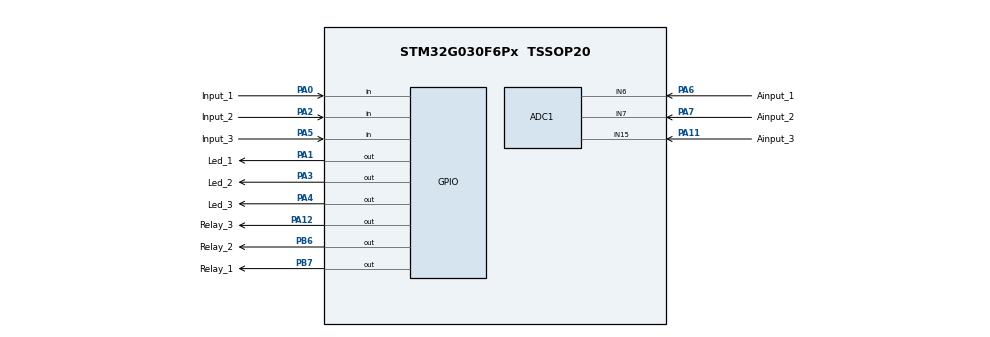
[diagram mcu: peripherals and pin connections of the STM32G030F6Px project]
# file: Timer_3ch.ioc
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ADC1.ClockPrescaler=ADC_CLOCK_SYNC_PCLK_DIV2
ADC1.ContinuousConvMode=ENABLE
ADC1.DMAContinuousRequests=ENABLE
ADC1.NbrOfConversion=1
ADC1.NbrOfConversionFlag=0
ADC1.SamplingTimeCommon1=ADC_SAMPLETIME_160CYCLES_5
ADC1.SelectedChannel=ADC_CHANNEL_6|ADC_CHANNEL_7|ADC_CHANNEL_VREFINT|ADC_CHANNEL_15
ADC1.Sequencer=NOT_FULLY_CONFIGURABLE
ADC1.master=1
Dma.ADC1.0.Direction=DMA_PERIPH_TO_MEMORY
Dma.ADC1.0.EventEnable=DISABLE
Dma.ADC1.0.Instance=DMA1_Channel1
Dma.ADC1.0.MemDataAlignment=DMA_MDATAALIGN_HALFWORD
Dma.ADC1.0.MemInc=DMA_MINC_ENABLE
Dma.ADC1.0.Mode=DMA_CIRCULAR
Dma.ADC1.0.PeriphDataAlignment=DMA_PDATAALIGN_HALFWORD
Dma.ADC1.0.PeriphInc=DMA_PINC_DISABLE
Dma.ADC1.0.Polarity=HAL_DMAMUX_REQ_GEN_RISING
Dma.ADC1.0.Priority=DMA_PRIORITY_LOW
Dma.ADC1.0.RequestNumber=1
Dma.ADC1.0.SignalID=NONE
Dma.ADC1.0.SyncEnable=DISABLE
Dma.ADC1.0.SyncPolarity=HAL_DMAMUX_SYNC_NO_EVENT
Dma.ADC1.0.SyncRequestNumber=1
Dma.ADC1.0.SyncSignalID=NONE
Dma.Request0=ADC1
FREERTOS.HEAP_NUMBER=4
FREERTOS.Tasks01=Polling_main,24,128,StartTaskPolling_main,Default,NULL,Dynamic,NULL,NULL;Polling_DI,8,128,StartTaskPolling_DI,Default,NULL,Dynamic,NULL,NULL
FREERTOS.Timers01=myTimer_OFF,Callback01_OFF,osTimerOnce,Default,NULL,Dynamic,NULL;myTimer_ON,Callback_ON,osTimerOnce,Default,NULL,Dynamic,NULL
FREERTOS.configMINIMAL_STACK_SIZE=64
FREERTOS.configTOTAL_HEAP_SIZE=3500
Mcu.Family=STM32G0
Mcu.Name=STM32G030F6Px
Mcu.Package=TSSOP20
NVIC.DMA1_Channel1_IRQn=true\:3\:0\:false\:false\:true\:true\:false\:true\:true
PA0.GPIO_Label=Input_1
PA0.GPIO_PuPd=GPIO_PULLDOWN
PA0.Signal=GPIO_Input
PA1.GPIO_Label=Led_1
PA1.GPIO_ModeDefaultOutputPP=GPIO_MODE_OUTPUT_OD
PA1.GPIO_PuPd=GPIO_NOPULL
PA1.Signal=GPIO_Output
PA11\ [PA9].GPIO_Label=Ainput_3
PA11\ [PA9].Signal=SharedAnalog_PA11
PA12\ [PA10].GPIO_Label=Relay_3
PA12\ [PA10].GPIO_ModeDefaultOutputPP=GPIO_MODE_OUTPUT_OD
PA12\ [PA10].GPIO_PuPd=GPIO_NOPULL
PA12\ [PA10].Signal=GPIO_Output
PA14-BOOT0__PA15.StandardMode=true
PA2.GPIO_Label=Input_2
PA2.GPIO_PuPd=GPIO_PULLDOWN
PA2.Signal=GPIO_Input
PA3.GPIO_Label=Led_2
PA3.GPIO_ModeDefaultOutputPP=GPIO_MODE_OUTPUT_OD
PA3.GPIO_PuPd=GPIO_NOPULL
PA3.Signal=GPIO_Output
PA4.GPIO_Label=Led_3
PA4.GPIO_ModeDefaultOutputPP=GPIO_MODE_OUTPUT_OD
PA4.GPIO_PuPd=GPIO_NOPULL
PA4.Signal=GPIO_Output
PA5.GPIO_Label=Input_3
PA5.GPIO_PuPd=GPIO_PULLDOWN
PA5.Signal=GPIO_Input
PA6.GPIO_Label=Ainput_1
PA6.Signal=SharedAnalog_PA6
PA7.GPIO_Label=Ainput_2
PA7.Signal=SharedAnalog_PA7
PB0__PB1__PB2__PA8.StandardMode=true
PB3__PB4__PB5__PB6.StandardMode=true
PB6.GPIO_Label=Relay_2
PB6.GPIO_ModeDefaultOutputPP=GPIO_MODE_OUTPUT_OD
PB6.GPIO_PuPd=GPIO_NOPULL
PB6.Signal=GPIO_Output
PB7.GPIO_Label=Relay_1
PB7.GPIO_ModeDefaultOutputPP=GPIO_MODE_OUTPUT_OD
PB7.GPIO_PuPd=GPIO_NOPULL
PB7.Signal=GPIO_Output
PB7__PB8.StandardMode=true
PC14-OSC32_IN\ (PC14)__PB9.StandardMode=true
ProjectManager.HeapSize=0x200
ProjectManager.StackSize=0x400
ProjectManager.TargetToolchain=STM32CubeIDE
RCC.ADCFreq_Value=64000000
RCC.AHBFreq_Value=64000000
RCC.CortexFreq_Value=64000000
RCC.EXTERNAL_CLOCK_VALUE=12288000
RCC.HCLKFreq_Value=64000000
RCC.HSE_VALUE=8000000
RCC.HSI_VALUE=16000000
RCC.LSE_VALUE=32768
RCC.SYSCLKFreq_VALUE=64000000
RCC.SYSCLKSource=RCC_SYSCLKSOURCE_PLLCLK
RCC.VCOOutputFreq_Value=128000000
SH.SharedAnalog_PA11.0=GPIO_Analog
SH.SharedAnalog_PA11.1=ADC1_IN15,IN15
SH.SharedAnalog_PA6.0=GPIO_Analog
SH.SharedAnalog_PA6.1=ADC1_IN6,IN6
SH.SharedAnalog_PA7.0=GPIO_Analog
SH.SharedAnalog_PA7.1=ADC1_IN7,IN7
VP_ADC1_Vref_Input.Mode=IN-Vrefint
VP_FREERTOS_VS_CMSIS_V2.Mode=CMSIS_V2
board=custom

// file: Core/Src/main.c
/* USER CODE BEGIN Header */
/**
  ******************************************************************************
  * @file           : main.c
  * @brief          : Main program body
  ******************************************************************************
  * @attention
  *
  * Copyright (c) 2023 STMicroelectronics.
  * All rights reserved.
  *
  * This software is licensed under terms that can be found in the LICENSE file
  * in the root directory of this software component.
  * If no LICENSE file comes with this software, it is provided AS-IS.
  *
  ******************************************************************************
  */
/* USER CODE END Header */
#include "main.h"
#include "cmsis_os.h"

ADC_HandleTypeDef hadc1;
DMA_HandleTypeDef hdma_adc1;

/* Definitions for Polling_main */
osThreadId_t Polling_mainHandle;
const osThreadAttr_t Polling_main_attributes = {
  .name = "Polling_main",
  .priority = (osPriority_t) osPriorityNormal,
  .stack_size = 128 * 4
};
/* Definitions for Polling_DI */
osThreadId_t Polling_DIHandle;
const osThreadAttr_t Polling_DI_attributes = {
  .name = "Polling_DI",
  .priority = (osPriority_t) osPriorityLow,
  .stack_size = 128 * 4
};
/* Definitions for myTimer_OFF */
osTimerId_t myTimer_OFFHandle;
const osTimerAttr_t myTimer_OFF_attributes = {
  .name = "myTimer_OFF"
};
/* Definitions for myTimer_ON */
osTimerId_t myTimer_ONHandle;
const osTimerAttr_t myTimer_ON_attributes = {
  .name = "myTimer_ON"
};
/* USER CODE BEGIN PV */
input_DataType DI_str; // структура для обработчика кнопок
uint16_t adc[40]; //массив для хранения опросов АЦП
uint8_t Time_on_relay; //время включения реле в сек
uint8_t Time_off_relay; //время включения реле в сек
uint16_t* VREFINT_CAL = (uint16_t*)(0x1FFF75AA);
uint8_t relays_sequence = 1; // очередь включения реле
uint8_t once = 1;
/* USER CODE END PV */

void SystemClock_Config(void);
static void MX_GPIO_Init(void);
static void MX_DMA_Init(void);
static void MX_ADC1_Init(void);
void StartTaskPolling_main(void *argument);
void StartTaskPolling_DI(void *argument);
void Callback01_OFF(void *argument);
void Callback_ON(void *argument);

/* USER CODE BEGIN 0 */
// медиана на 3 значения со своим буфером
uint32_t median(uint32_t newVal) {
  static int buf[3];
  static uint8_t count = 0;
  buf[count] = newVal;
  if (++count >= 3) count = 0;
  return (max(buf[0], buf[1]) == max(buf[1], buf[2])) ? max(buf[0], buf[2]) : max(buf[1], min(buf[0], buf[2]));
}

int32_t filter(int32_t in, uint32_t coeff_A, uint32_t coeff_k ) {
	static uint32_t filt;

filt = (coeff_A * filt + in) >> coeff_k;
return filt;
}
/* USER CODE END 0 */

int main(void)
{

  /* MCU Configuration--------------------------------------------------------*/

  /* Reset of all peripherals, Initializes the Flash interface and the Systick. */
  HAL_Init();

  /* Configure the system clock */
  SystemClock_Config();

  /* Initialize all configured peripherals */
  MX_GPIO_Init();
  MX_DMA_Init();
  MX_ADC1_Init();
  /* USER CODE BEGIN 2 */
  HAL_ADCEx_Calibration_Start(&hadc1);
  /* USER CODE END 2 */

  /* Init scheduler */
  osKernelInitialize();

  /* Create the timer(s) */
  /* creation of myTimer_OFF */
  myTimer_OFFHandle = osTimerNew(Callback01_OFF, osTimerOnce, NULL, &myTimer_OFF_attributes);

  /* creation of myTimer_ON */
  myTimer_ONHandle = osTimerNew(Callback_ON, osTimerOnce, NULL, &myTimer_ON_attributes);

  /* Create the thread(s) */
  /* creation of Polling_main */
  Polling_mainHandle = osThreadNew(StartTaskPolling_main, NULL, &Polling_main_attributes);

  /* creation of Polling_DI */
  Polling_DIHandle = osThreadNew(StartTaskPolling_DI, NULL, &Polling_DI_attributes);

  /* USER CODE BEGIN RTOS_EVENTS */
  /* add events, ... */
	HAL_ADC_Start_DMA(&hadc1, (uint32_t*)adc, 40);
	HAL_GPIO_WritePin(Led_1_GPIO_Port, Led_1_Pin, 1);
	HAL_GPIO_WritePin(Led_2_GPIO_Port, Led_2_Pin, 1);
	HAL_GPIO_WritePin(Led_3_GPIO_Port, Led_3_Pin, 1);
	HAL_GPIO_WritePin(Relay_1_GPIO_Port, Relay_1_Pin, 1);
	HAL_GPIO_WritePin(Relay_2_GPIO_Port, Relay_2_Pin, 1);
	HAL_GPIO_WritePin(Relay_3_GPIO_Port, Relay_3_Pin, 1);
  /* USER CODE END RTOS_EVENTS */

  /* Start scheduler */
  osKernelStart();

  /* We should never get here as control is now taken by the scheduler */
  /* Infinite loop */
  while (1)
  {

  }
}

void SystemClock_Config(void)
{
  LL_FLASH_SetLatency(LL_FLASH_LATENCY_2);
  while(LL_FLASH_GetLatency() != LL_FLASH_LATENCY_2)
  {
  }

  /* HSI configuration and activation */
  LL_RCC_HSI_Enable();
  while(LL_RCC_HSI_IsReady() != 1)
  {
  }

  /* Main PLL configuration and activation */
  LL_RCC_PLL_ConfigDomain_SYS(LL_RCC_PLLSOURCE_HSI, LL_RCC_PLLM_DIV_1, 8, LL_RCC_PLLR_DIV_2);
  LL_RCC_PLL_Enable();
  LL_RCC_PLL_EnableDomain_SYS();
  while(LL_RCC_PLL_IsReady() != 1)
  {
  }

  /* Set AHB prescaler*/
  LL_RCC_SetAHBPrescaler(LL_RCC_SYSCLK_DIV_1);

  /* Sysclk activation on the main PLL */
  LL_RCC_SetSysClkSource(LL_RCC_SYS_CLKSOURCE_PLL);
  while(LL_RCC_GetSysClkSource() != LL_RCC_SYS_CLKSOURCE_STATUS_PLL)
  {
  }

  /* Set APB1 prescaler*/
  LL_RCC_SetAPB1Prescaler(LL_RCC_APB1_DIV_1);
  /* Update CMSIS variable (which can be updated also through SystemCoreClockUpdate function) */
  LL_SetSystemCoreClock(64000000);

   /* Update the time base */
  if (HAL_InitTick (TICK_INT_PRIORITY) != HAL_OK)
  {
    Error_Handler();
  }
}

static void MX_ADC1_Init(void)
{

  ADC_ChannelConfTypeDef sConfig = {0};

  /** Configure the global features of the ADC (Clock, Resolution, Data Alignment and number of conversion)
  */
  hadc1.Instance = ADC1;
  hadc1.Init.ClockPrescaler = ADC_CLOCK_SYNC_PCLK_DIV2;
  hadc1.Init.Resolution = ADC_RESOLUTION_12B;
  hadc1.Init.DataAlign = ADC_DATAALIGN_RIGHT;
  hadc1.Init.ScanConvMode = ADC_SCAN_SEQ_FIXED;
  hadc1.Init.EOCSelection = ADC_EOC_SINGLE_CONV;
  hadc1.Init.LowPowerAutoWait = DISABLE;
  hadc1.Init.LowPowerAutoPowerOff = DISABLE;
  hadc1.Init.ContinuousConvMode = ENABLE;
  hadc1.Init.NbrOfConversion = 1;
  hadc1.Init.ExternalTrigConv = ADC_SOFTWARE_START;
  hadc1.Init.ExternalTrigConvEdge = ADC_EXTERNALTRIGCONVEDGE_NONE;
  hadc1.Init.DMAContinuousRequests = ENABLE;
  hadc1.Init.Overrun = ADC_OVR_DATA_PRESERVED;
  hadc1.Init.SamplingTimeCommon1 = ADC_SAMPLETIME_160CYCLES_5;
  hadc1.Init.OversamplingMode = DISABLE;
  hadc1.Init.TriggerFrequencyMode = ADC_TRIGGER_FREQ_HIGH;
  if (HAL_ADC_Init(&hadc1) != HAL_OK)
  {
    Error_Handler();
  }

  /** Configure Regular Channel
  */
  sConfig.Channel = ADC_CHANNEL_6;
  sConfig.Rank = ADC_RANK_CHANNEL_NUMBER;
  if (HAL_ADC_ConfigChannel(&hadc1, &sConfig) != HAL_OK)
  {
    Error_Handler();
  }

  /** Configure Regular Channel
  */
  sConfig.Channel = ADC_CHANNEL_7;
  if (HAL_ADC_ConfigChannel(&hadc1, &sConfig) != HAL_OK)
  {
    Error_Handler();
  }

  /** Configure Regular Channel
  */
  sConfig.Channel = ADC_CHANNEL_VREFINT;
  if (HAL_ADC_ConfigChannel(&hadc1, &sConfig) != HAL_OK)
  {
    Error_Handler();
  }

  /** Configure Regular Channel
  */
  sConfig.Channel = ADC_CHANNEL_15;
  if (HAL_ADC_ConfigChannel(&hadc1, &sConfig) != HAL_OK)
  {
    Error_Handler();
  }

}

static void MX_DMA_Init(void)
{

  /* DMA controller clock enable */
  __HAL_RCC_DMA1_CLK_ENABLE();

  /* DMA interrupt init */
  /* DMA1_Channel1_IRQn interrupt configuration */
  HAL_NVIC_SetPriority(DMA1_Channel1_IRQn, 3, 0);
  HAL_NVIC_EnableIRQ(DMA1_Channel1_IRQn);

}

static void MX_GPIO_Init(void)
{
  GPIO_InitTypeDef GPIO_InitStruct = {0};

  /* GPIO Ports Clock Enable */
  __HAL_RCC_GPIOB_CLK_ENABLE();
  __HAL_RCC_GPIOA_CLK_ENABLE();

  /*Configure GPIO pin Output Level */
  HAL_GPIO_WritePin(GPIOB, Relay_1_Pin|Relay_2_Pin, GPIO_PIN_RESET);

  /*Configure GPIO pin Output Level */
  HAL_GPIO_WritePin(GPIOA, Led_1_Pin|Led_2_Pin|Led_3_Pin|Relay_3_Pin, GPIO_PIN_RESET);

  /*Configure GPIO pins : Relay_1_Pin Relay_2_Pin */
  GPIO_InitStruct.Pin = Relay_1_Pin|Relay_2_Pin;
  GPIO_InitStruct.Mode = GPIO_MODE_OUTPUT_OD;
  GPIO_InitStruct.Pull = GPIO_NOPULL;
  GPIO_InitStruct.Speed = GPIO_SPEED_FREQ_LOW;
  HAL_GPIO_Init(GPIOB, &GPIO_InitStruct);

  /*Configure GPIO pins : Input_1_Pin Input_2_Pin Input_3_Pin */
  GPIO_InitStruct.Pin = Input_1_Pin|Input_2_Pin|Input_3_Pin;
  GPIO_InitStruct.Mode = GPIO_MODE_INPUT;
  GPIO_InitStruct.Pull = GPIO_PULLDOWN;
  HAL_GPIO_Init(GPIOA, &GPIO_InitStruct);

  /*Configure GPIO pins : Led_1_Pin Led_2_Pin Led_3_Pin Relay_3_Pin */
  GPIO_InitStruct.Pin = Led_1_Pin|Led_2_Pin|Led_3_Pin|Relay_3_Pin;
  GPIO_InitStruct.Mode = GPIO_MODE_OUTPUT_OD;
  GPIO_InitStruct.Pull = GPIO_NOPULL;
  GPIO_InitStruct.Speed = GPIO_SPEED_FREQ_LOW;
  HAL_GPIO_Init(GPIOA, &GPIO_InitStruct);

}

void StartTaskPolling_main(void *argument)
{
  /* USER CODE BEGIN 5 */
  /* Infinite loop */
  for(;;)
  {

	  	uint16_t Uvdda; //  измерение напряжения питания АЦП
		for (uint8_t i = 3; i<40; i+=4) // берем сумму каждых четных адресов
		  	{
				Uvdda = Uvdda + adc[i];
		  	}
		Uvdda = (uint16_t)(30000*(uint32_t)(*VREFINT_CAL)/(uint32_t)Uvdda); //напряжение в мВ на пине VDDA
		Uvdda = median(Uvdda);

		int32_t Input_AI1=0;
		for (uint8_t i = 0; i<40; i+=4) // берем сумму каждых первых адресов
			{
				Input_AI1 = Input_AI1 + adc[i];
			}

		int32_t Input_AI2=0;
		for (uint8_t i = 1; i<40; i+=4) // берем сумму каждых первых адресов
			{
				Input_AI2 = Input_AI2 + adc[i];
			}

		int32_t Input_AI3=0;
		for (uint8_t i = 2; i<40; i+=4) // берем сумму каждых первых адресов
			{
				Input_AI3 = Input_AI3 + adc[i];
			}

		Time_on_relay = (uint8_t)(Input_AI1*9/40950) + 1 ; // задание от 1 до 10 сек
		Time_off_relay = (uint8_t)(Input_AI2*99/40950) + 1; // задание от 1 до 100 сек

		if (once)
		{
			once=0;
			osTimerStart(myTimer_OFFHandle, (uint32_t)(Time_off_relay)*1000);
		}
		// выключение выходов, если нет сигнала
		if ((GPIO_PinState)!DI_str.input_1)
		{
			HAL_GPIO_WritePin(Led_1_GPIO_Port, Led_1_Pin, 1);
			HAL_GPIO_WritePin(Relay_1_GPIO_Port, Relay_1_Pin, 1);
		}

		if ((GPIO_PinState)!DI_str.input_2)
		{
			HAL_GPIO_WritePin(Led_2_GPIO_Port, Led_2_Pin, 1);
			HAL_GPIO_WritePin(Relay_2_GPIO_Port, Relay_2_Pin, 1);
		}

		if ((GPIO_PinState)!DI_str.input_3)
		{
			HAL_GPIO_WritePin(Led_3_GPIO_Port, Led_3_Pin, 1);
			HAL_GPIO_WritePin(Relay_3_GPIO_Port, Relay_3_Pin, 1);
		}

	  osDelay(100);
  }
  /* USER CODE END 5 */
}

void StartTaskPolling_DI(void *argument)
{
  /* USER CODE BEGIN StartTaskPolling_DI */
  /* Infinite loop */
  for(;;)
  {

	  	DI_str.input_1=(uint32_t)HAL_GPIO_ReadPin(Input_1_GPIO_Port, Input_1_Pin);
	    DI_str.input_2=(uint32_t)HAL_GPIO_ReadPin(Input_2_GPIO_Port, Input_2_Pin);
	    DI_str.input_3=(uint32_t)HAL_GPIO_ReadPin(Input_3_GPIO_Port, Input_3_Pin);

	  	          if (DI_str.input_2_rise == 1)
	  	              DI_str.input_2_rise = 0; // сброс статуса фронта нажатия
	  	          if (DI_str.input_2_fall == 1)
	  	              DI_str.input_2_fall = 0; // сброс статуса спада нажатия
	  	          // начало события, отсчет от первого фронта
	  	          if (DI_str.input_2 && DI_str.input_2_time == 0)
	  	          {
	  	              DI_str.input_2_time = xTaskGetTickCount();
	  	              //DI_str.input_2 = DI_str.input_2;
	  	          }
	  	          // проверка состояния контакта через время дребезга контактов 50мс
	  	          else if (DI_str.input_2 && xTaskGetTickCount() > DI_str.input_2_time + 50)
	  	          {
	  	              DI_str.input_2 = xTaskGetTickCount() - DI_str.input_2_time; // сохраняем время нажатой кнопки в мс*10
	  	              DI_str.input_2_rise = 1;                                             // формирование статуса фронт сигнала
	  	          }
	  	          else if (DI_str.input_2 == 0 && DI_str.input_2 != 0)
	  	          {
	  	              DI_str.input_2_time = 0;
	  	              DI_str.input_2 = 0;
	  	              DI_str.input_2_fall = 1;
	  	          }

	  	          if (DI_str.input_1_rise == 1)
	  	              DI_str.input_1_rise = 0; // сброс статуса фронта нажатия
	  	          if (DI_str.input_1_fall == 1)
	  	              DI_str.input_1_fall = 0; // сброс статуса спада нажатия
	  	          // начало события, отсчет от первого фронта
	  	          if (DI_str.input_1 && DI_str.input_1_time == 0)
	  	          {
	  	              DI_str.input_1_time = xTaskGetTickCount();
	  	             // DI_str.input_1 = DI_str.input_1;
	  	          }
	  	          // проверка состояния контакта через время дребезга контактов 50мс
	  	          else if (DI_str.input_1 && xTaskGetTickCount() > DI_str.input_1_time + 50)
	  	          {
	  	              DI_str.input_1 = xTaskGetTickCount() - DI_str.input_1_time; // сохраняем время нажатой кнопки в мс*10
	  	              DI_str.input_1_rise = 1;                                           // формирование статуса фронт сигнала
	  	          }
	  	          else if (DI_str.input_1 == 0 && DI_str.input_1 != 0)
	  	          {
	  	              DI_str.input_1_time = 0;
	  	              DI_str.input_1 = 0;
	  	              DI_str.input_1_fall = 1;
	  	          }

	  	          if (DI_str.input_3_rise == 1)
	  	              DI_str.input_3_rise = 0; // сброс статуса фронта нажатия
	  	          if (DI_str.input_3_fall == 1)
	  	              DI_str.input_3_fall = 0; // сброс статуса спада нажатия
	  	          // начало события, отсчет от первого фронта
	  	          if (DI_str.input_3 && DI_str.input_3_time == 0)
	  	          {
	  	              DI_str.input_3_time = xTaskGetTickCount();
	  	              //DI_str.input_3 = DI_str.input_3;
	  	          }
	  	          // проверка состояния контакта через время дребезга контактов 50мс
	  	          else if (DI_str.input_3 && xTaskGetTickCount() > DI_str.input_3_time + 50)
	  	          {
	  	              DI_str.input_3 = xTaskGetTickCount() - DI_str.input_3_time; // сохраняем время нажатой кнопки в мс*10
	  	              DI_str.input_3_rise = 1;                                             // формирование статуса фронт сигнала
	  	          }
	  	          else if (DI_str.input_3 == 0 && DI_str.input_3 != 0)
	  	          {
	  	              DI_str.input_3_time = 0;
	  	              DI_str.input_3 = 0;
	  	              DI_str.input_3_fall = 1;
	  	          }

	  	          DI_str.any_input = DI_str.input_1 | DI_str.input_2 | DI_str.input_3 ;

	      osDelay(100);

  }
  /* USER CODE END StartTaskPolling_DI */
}

/* Callback01_OFF function */
void Callback01_OFF(void *argument)
{
  /* USER CODE BEGIN Callback01_OFF */
	  if (relays_sequence==1 && (GPIO_PinState)DI_str.input_1)
	  {
		  HAL_GPIO_WritePin(Led_1_GPIO_Port, Led_1_Pin, 0);
		  HAL_GPIO_WritePin(Relay_1_GPIO_Port, Relay_1_Pin, 0);
	  }

	  else if (relays_sequence==2 && (GPIO_PinState)DI_str.input_2)
	  {
		  HAL_GPIO_WritePin(Led_2_GPIO_Port, Led_2_Pin, 0);
		  HAL_GPIO_WritePin(Relay_2_GPIO_Port, Relay_2_Pin, 0);
	  }

	  else if (relays_sequence==3 && (GPIO_PinState)DI_str.input_3)
	  {
		  HAL_GPIO_WritePin(Led_3_GPIO_Port, Led_3_Pin, 0);
		  HAL_GPIO_WritePin(Relay_3_GPIO_Port, Relay_3_Pin, 0);
	  }

	  osTimerStart(myTimer_ONHandle, (uint32_t)(Time_on_relay)*1000);
  /* USER CODE END Callback01_OFF */
}

/* Callback_ON function */
void Callback_ON(void *argument)
{
  /* USER CODE BEGIN Callback_ON */
	  if (relays_sequence==1 && (GPIO_PinState)DI_str.input_1)
	  {
		  HAL_GPIO_WritePin(Led_1_GPIO_Port, Led_1_Pin, 1);
		  HAL_GPIO_WritePin(Relay_1_GPIO_Port, Relay_1_Pin, 1);
	  }

	  else if (relays_sequence==2 && (GPIO_PinState)DI_str.input_2)
	  {
		  HAL_GPIO_WritePin(Led_2_GPIO_Port, Led_2_Pin, 1);
		  HAL_GPIO_WritePin(Relay_2_GPIO_Port, Relay_2_Pin, 1);
	  }

	  else if (relays_sequence==3 && (GPIO_PinState)DI_str.input_3)
	  {
		  HAL_GPIO_WritePin(Led_3_GPIO_Port, Led_3_Pin, 1);
		  HAL_GPIO_WritePin(Relay_3_GPIO_Port, Relay_3_Pin, 1);
	  }

	  uint8_t select=0;
	  select |= (DI_str.input_1 !=0)  << 0;
	  select |= (DI_str.input_2 !=0)  << 1;
	  select |= (DI_str.input_3 !=0)  << 2;

	  switch (select)
	  {
	  	  case 0:
	  		relays_sequence=1;
	  	  break;

	  	  case 1:
	  		relays_sequence=1;
	  		break;

	  	  case 2:
	  		relays_sequence=2;
	  		break;

	  	  case 3:
		  		if (relays_sequence==1) relays_sequence=2;
		  		else if (relays_sequence==2) relays_sequence=1;
	  		break;

	  	  case 4:
	  		relays_sequence=3;
	  		break;

	  	  case 5:
		  		if (relays_sequence==1) relays_sequence=3;
		  		else if (relays_sequence==3) relays_sequence=1;
	  		break;

	  	  case 6:
		  		if (relays_sequence==3) relays_sequence=2;
		  		else if (relays_sequence==2) relays_sequence=3;
	  		break;

	  	  case 7: //если все три реле разрешены

	  		if (relays_sequence==1) relays_sequence=2;
	  		else if (relays_sequence==2) relays_sequence=3;
	  		else if (relays_sequence==3) relays_sequence=1;
	  		break;

	  	  default:
	  		relays_sequence=1;
	  		break;
	  }

	  osTimerStart(myTimer_OFFHandle, (uint32_t)(Time_off_relay)*1000);
  /* USER CODE END Callback_ON */
}

void Error_Handler(void)
{
  __disable_irq();
  while (1)
  {
  }
}
